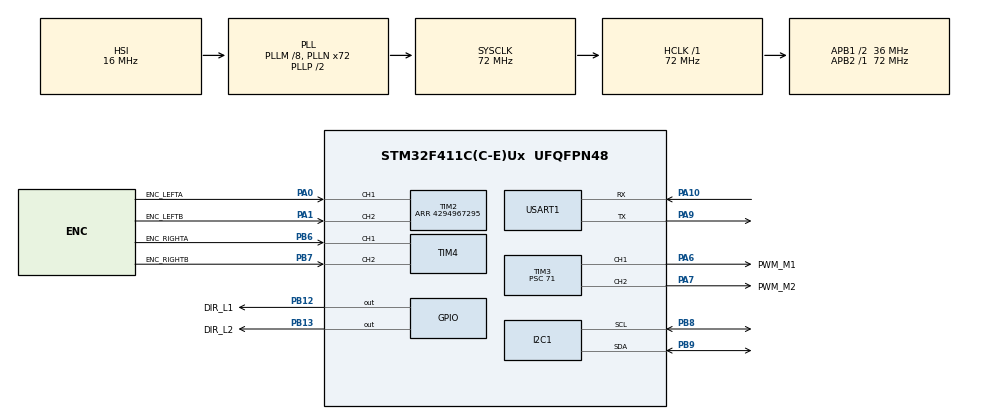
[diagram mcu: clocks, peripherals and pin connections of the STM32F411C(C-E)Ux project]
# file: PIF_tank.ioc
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Mcu.Family=STM32F4
Mcu.Name=STM32F411C(C-E)Ux
Mcu.Package=UFQFPN48
NVIC.PriorityGroup=NVIC_PRIORITYGROUP_4
NVIC.USART1_IRQn=true\:0\:0\:false\:false\:true\:true\:true\:true
PA0-WKUP.GPIO_Label=ENC_LEFTA
PA0-WKUP.Signal=S_TIM2_CH1_ETR
PA1.GPIO_Label=ENC_LEFTB
PA1.Signal=S_TIM2_CH2
PA10.Mode=Asynchronous
PA10.Signal=USART1_RX
PA6.GPIO_Label=PWM_M1
PA6.Signal=S_TIM3_CH1
PA7.GPIO_Label=PWM_M2
PA7.Signal=S_TIM3_CH2
PA9.Mode=Asynchronous
PA9.Signal=USART1_TX
PB12.GPIO_Label=DIR_L1
PB12.Signal=GPIO_Output
PB13.GPIO_Label=DIR_L2
PB13.Signal=GPIO_Output
PB6.GPIO_Label=ENC_RIGHTA
PB6.Signal=S_TIM4_CH1
PB7.GPIO_Label=ENC_RIGHTB
PB7.Signal=S_TIM4_CH2
PB8.Mode=I2C
PB8.Signal=I2C1_SCL
PB9.Mode=I2C
PB9.Signal=I2C1_SDA
ProjectManager.HeapSize=0x200
ProjectManager.StackSize=0x400
ProjectManager.TargetToolchain=STM32CubeIDE
RCC.48MHZClocksFreq_Value=36000000
RCC.AHBFreq_Value=72000000
RCC.APB1CLKDivider=RCC_HCLK_DIV2
RCC.APB1Freq_Value=36000000
RCC.APB1TimFreq_Value=72000000
RCC.APB2Freq_Value=72000000
RCC.APB2TimFreq_Value=72000000
RCC.CortexFreq_Value=72000000
RCC.HCLKFreq_Value=72000000
RCC.HSE_VALUE=25000000
RCC.HSI_VALUE=16000000
RCC.LSE_VALUE=32768
RCC.PLLM=8
RCC.PLLN=72
RCC.SYSCLKFreq_VALUE=72000000
RCC.SYSCLKSource=RCC_SYSCLKSOURCE_PLLCLK
RCC.VCOOutputFreq_Value=144000000
SH.S_TIM2_CH1_ETR.0=TIM2_CH1,Encoder_Interface
SH.S_TIM2_CH2.0=TIM2_CH2,Encoder_Interface
SH.S_TIM3_CH1.0=TIM3_CH1,PWM Generation1 CH1
SH.S_TIM3_CH2.0=TIM3_CH2,PWM Generation2 CH2
SH.S_TIM4_CH1.0=TIM4_CH1,Encoder_Interface
SH.S_TIM4_CH2.0=TIM4_CH2,Encoder_Interface
TIM2.EncoderMode=TIM_ENCODERMODE_TI12
TIM2.Period=4294967295
TIM3.Channel-PWM\ Generation1\ CH1=TIM_CHANNEL_1
TIM3.Channel-PWM\ Generation2\ CH2=TIM_CHANNEL_2
TIM3.Period=999
TIM3.Prescaler=71
TIM4.EncoderMode=TIM_ENCODERMODE_TI12
USART1.VirtualMode=VM_ASYNC
board=custom

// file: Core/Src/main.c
/* USER CODE BEGIN Header */
/**
  ******************************************************************************
  * @file           : main.c
  * @brief          : Main program body
  ******************************************************************************
  * @attention
  *
  * Copyright (c) 2026 STMicroelectronics.
  * All rights reserved.
  *
  * This software is licensed under terms that can be found in the LICENSE file
  * in the root directory of this software component.
  * If no LICENSE file comes with this software, it is provided AS-IS.
  *
  ******************************************************************************
  */
/* USER CODE END Header */
#include "main.h"
#include "i2c.h"
#include "tim.h"
#include "usart.h"
#include "gpio.h"

/* USER CODE BEGIN Includes */
#include "icm.h"
#include "motor.h"
#include "ibus.h"
/* USER CODE END Includes */

/* USER CODE BEGIN PV */
//volatile uint32_t encoder_left_count = 0;
//volatile uint16_t encoder_right_count = 0;

//ICM_20602_t icm = {0};
//
//volatile HAL_StatusTypeDef icm_init_status = HAL_BUSY;
//volatile HAL_StatusTypeDef icm_read_status = HAL_BUSY;
//
//volatile uint32_t icm_read_count = 0;
//volatile uint32_t icm_error_count = 0;
//float yaw_deg = 0.0f;

extern iBUS_t ibus;
uint8_t frame[32];

uint8_t rx_byte;
volatile uint8_t last_rx_byte = 0;
volatile uint32_t rx_count = 0;

/* USER CODE END PV */

void SystemClock_Config(void);

/* USER CODE BEGIN 0 */
static int32_t clamp_i32(int32_t x, int32_t min, int32_t max)
{
    if (x < min) return min;
    if (x > max) return max;
    return x;
}

// Nhận tốc độ có dấu: -100 đến +100
static void motor_signed(int32_t left, int32_t right)
{
    left  = clamp_i32(left, -100, 100);
    right = clamp_i32(right, -100, 100);

    // Motor trái
    if (left >= 0)
    {
        HAL_GPIO_WritePin(GPIOB, GPIO_PIN_12, GPIO_PIN_RESET);
        motor_set_left((uint32_t)left);
    }
    else
    {
        HAL_GPIO_WritePin(GPIOB, GPIO_PIN_12, GPIO_PIN_SET);
        motor_set_left((uint32_t)(100 + left));
    }

    // Motor phải
    if (right >= 0)
    {
        HAL_GPIO_WritePin(GPIOB, GPIO_PIN_13, GPIO_PIN_RESET);
        motor_set_right((uint32_t)right);
    }
    else
    {
        HAL_GPIO_WritePin(GPIOB, GPIO_PIN_13, GPIO_PIN_SET);
        motor_set_right((uint32_t)(100 + right));
    }
}

static void car_control(uint16_t lv, uint16_t rv, uint16_t rh)
{
    // Chặn dữ liệu không hợp lệ
    if (lv < 900 || lv > 2100 ||
        rv < 900 || rv > 2100 ||
        rh < 900 || rh > 2100)
    {
        motor_signed(0, 0);
        return;
    }

    // 1. LV: ga 0 đến 100%
    int32_t throttle = clamp_i32(((int32_t)lv - 1000) / 10,
                                  0, 100);

    // 2. RV: -100 (lùi) đến +100 (tiến)
    int32_t direction = clamp_i32((1500 -(int32_t)rv) / 5,
                                   -100, 100);

    // 3. RH: -100 (trái) đến +100 (phải)
    int32_t steering = clamp_i32(( 1500 - (int32_t)rh) / 5,
                                  -100, 100);

    // Deadzone chống rung tại vị trí giữa
    if (rv >= 1475 && rv <= 1525)
        direction = 0;

    if (rh >= 1475 && rh <= 1525)
        steering = 0;

    // 4. Tính thành phần tiến/lùi và rẽ
    int32_t forward = throttle * direction / 100;
    int32_t turn    = throttle * steering / 100;

    // 5. Differential Drive
    int32_t left  = forward + turn;
    int32_t right = forward - turn;

    // 6. Chuẩn hóa để không vượt quá ga LV
    int32_t abs_left  = left < 0 ? -left : left;
    int32_t abs_right = right < 0 ? -right : right;

    int32_t max_abs = abs_left > abs_right ? abs_left : abs_right;

    if (max_abs > throttle && throttle > 0)
    {
        left  = left  * throttle / max_abs;
        right = right * throttle / max_abs;
    }

    // 7. Điều khiển motor
    motor_signed(left, right);
}
/* USER CODE END 0 */

int main(void)
{

  /* USER CODE BEGIN 1 */
//	float leftpwm = (float)(ibus.RH-1000)*99/1000+1;
//	float rightpwm = (float)(ibus.RV-1000)*99/1000+1;

  /* USER CODE END 1 */

  /* MCU Configuration--------------------------------------------------------*/

  /* Reset of all peripherals, Initializes the Flash interface and the Systick. */
  HAL_Init();

  /* Configure the system clock */
  SystemClock_Config();

  /* Initialize all configured peripherals */
  MX_GPIO_Init();
  MX_TIM3_Init();
  MX_TIM2_Init();
  MX_TIM4_Init();
  MX_I2C1_Init();
  MX_USART1_UART_Init();
  /* USER CODE BEGIN 2 */

//  icm_init(&hi2c1);
//
//  icm_calibrate_gyro(&hi2c1, &icm, 500);

  //Init PWM FOR DC Motor
  motor_init();

  //Init encoder

//  if (HAL_TIM_Encoder_Start(&htim2, TIM_CHANNEL_ALL) != HAL_OK) Error_Handler();
//
//  if (HAL_TIM_Encoder_Start(&htim4, TIM_CHANNEL_ALL) != HAL_OK) Error_Handler();

//  uint32_t last_tick = HAL_GetTick();
//  HAL_GPIO_WritePin(GPIOB, GPIO_PIN_13, 0);
//  HAL_GPIO_WritePin(GPIOB, GPIO_PIN_12, 0);
//Nếu GPIO là 0 và set pwm là 60 thì nó đi thẳng về trước tốc độ 60%. Còn nếu để pwm 60 và GPIO 1 thì nó sẽ đi lui với tốc độ 40% (Bù trừ nhau)
  //--> Cần viết thư viện để dựa vào tốc độ mình đi mà nó băm xung cho hợp lý.
  iBUS_init(&huart1);

  if (HAL_UART_Receive_IT(&huart1, &rx_byte, 1) != HAL_OK)
  {
      Error_Handler();
  }

//  iBUS_parse(frame, rx_byte);

//  iBUS_decode(&ibus, frame);

  /* USER CODE END 2 */

  /* Infinite loop */
  /* USER CODE BEGIN WHILE */
  while (1)
  {
//	  float leftpwm = (float)(ibus.RH-1000)*99/1000+1;
//	  float rightpwm = (float)(ibus.RV-1000)*99/1000+1;
//
//	  motor_set_left((uint32_t)(leftpwm));
//	  motor_set_right((uint32_t)(rightpwm));
//
//	  HAL_Delay(10);

	uint16_t lv, rv, rh;

	lv = ibus.LH;
	rv = ibus.RV;
	rh = ibus.RH;

	// Failsafe: không có frame hợp lệ trong 200 ms

	car_control(lv, rv, rh);

	HAL_Delay(10);

//	if (icm_readgyro(&hi2c1, &icm) == HAL_OK)
//	{
//		uint32_t now = HAL_GetTick();
//		float dt = (now - last_tick) / 1000.0f;
//		last_tick = now;
//
//		if (dt > 0.0f && dt < 0.5f)
//		{
//			yaw_deg += icm.gz_dps * dt;
//		}
//	}
//
//	HAL_Delay(100);

//	  encoder_left_count =
//	      __HAL_TIM_GET_COUNTER(&htim2);
//
//	  encoder_right_count =
//	      (uint16_t)__HAL_TIM_GET_COUNTER(&htim4);
//
//	  HAL_Delay(50);
    /* USER CODE END WHILE */

  }
}

void SystemClock_Config(void)
{
  RCC_OscInitTypeDef RCC_OscInitStruct = {0};
  RCC_ClkInitTypeDef RCC_ClkInitStruct = {0};

  /** Configure the main internal regulator output voltage
  */
  __HAL_RCC_PWR_CLK_ENABLE();
  __HAL_PWR_VOLTAGESCALING_CONFIG(PWR_REGULATOR_VOLTAGE_SCALE1);

  /** Initializes the RCC Oscillators according to the specified parameters
  * in the RCC_OscInitTypeDef structure.
  */
  RCC_OscInitStruct.OscillatorType = RCC_OSCILLATORTYPE_HSI;
  RCC_OscInitStruct.HSIState = RCC_HSI_ON;
  RCC_OscInitStruct.HSICalibrationValue = RCC_HSICALIBRATION_DEFAULT;
  RCC_OscInitStruct.PLL.PLLState = RCC_PLL_ON;
  RCC_OscInitStruct.PLL.PLLSource = RCC_PLLSOURCE_HSI;
  RCC_OscInitStruct.PLL.PLLM = 8;
  RCC_OscInitStruct.PLL.PLLN = 72;
  RCC_OscInitStruct.PLL.PLLP = RCC_PLLP_DIV2;
  RCC_OscInitStruct.PLL.PLLQ = 4;
  if (HAL_RCC_OscConfig(&RCC_OscInitStruct) != HAL_OK)
  {
    Error_Handler();
  }

  /** Initializes the CPU, AHB and APB buses clocks
  */
  RCC_ClkInitStruct.ClockType = RCC_CLOCKTYPE_HCLK|RCC_CLOCKTYPE_SYSCLK
                              |RCC_CLOCKTYPE_PCLK1|RCC_CLOCKTYPE_PCLK2;
  RCC_ClkInitStruct.SYSCLKSource = RCC_SYSCLKSOURCE_PLLCLK;
  RCC_ClkInitStruct.AHBCLKDivider = RCC_SYSCLK_DIV1;
  RCC_ClkInitStruct.APB1CLKDivider = RCC_HCLK_DIV2;
  RCC_ClkInitStruct.APB2CLKDivider = RCC_HCLK_DIV1;

  if (HAL_RCC_ClockConfig(&RCC_ClkInitStruct, FLASH_LATENCY_2) != HAL_OK)
  {
    Error_Handler();
  }
}

/* USER CODE BEGIN 4 */
void HAL_UART_RxCpltCallback(UART_HandleTypeDef *huart)
{
    if (huart->Instance == USART1)
    {

        uint8_t data = rx_byte;

        last_rx_byte = rx_byte;
        rx_count++;

        HAL_UART_Receive_IT(&huart1, &rx_byte, 1);

        iBUS_parse(frame, data);

    }
}
/* USER CODE END 4 */

void Error_Handler(void)
{
  __disable_irq();
  while (1)
  {
  }
}
